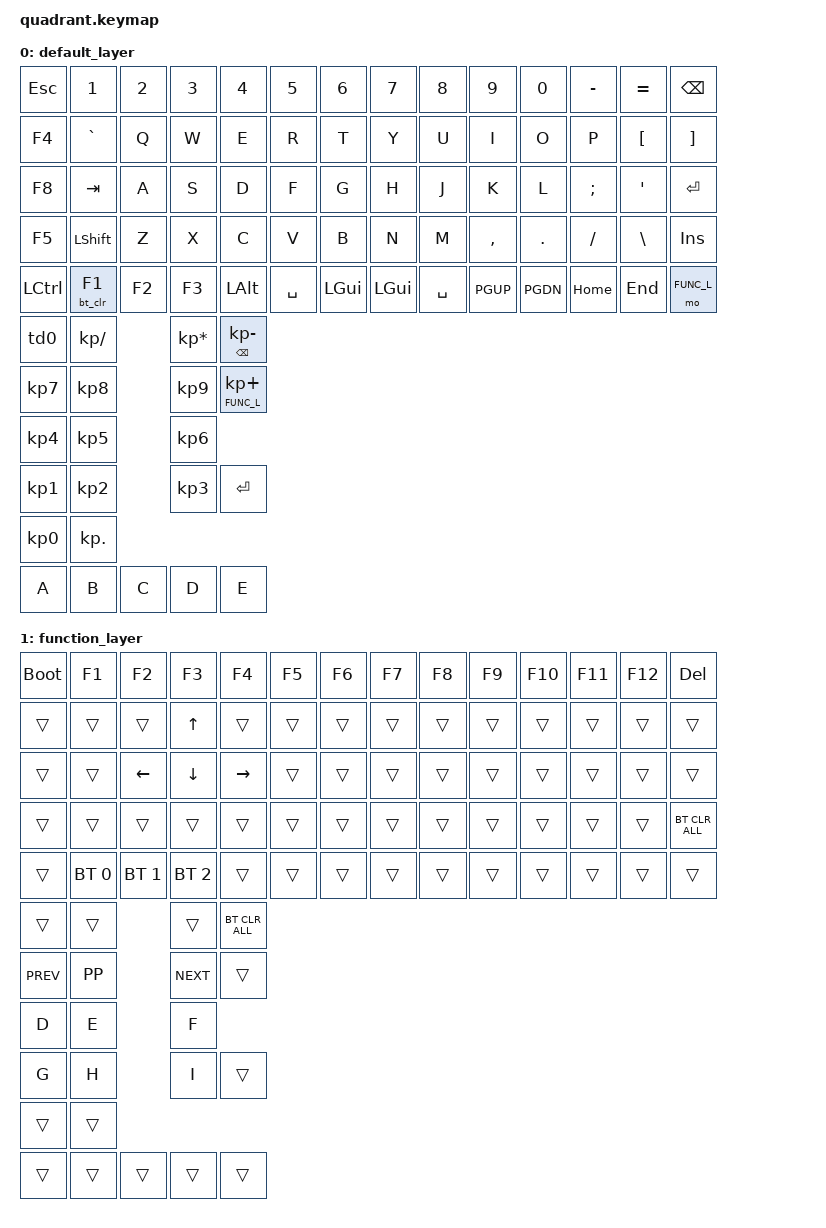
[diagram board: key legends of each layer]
/*
 * Copyright (c) 2020 The ZMK Contributors
 *
 * SPDX-License-Identifier: MIT
 */

#include <behaviors.dtsi>
#include <dt-bindings/zmk/keys.h>
#include <dt-bindings/zmk/bt.h>
#include <dt-bindings/zmk/outputs.h>


#define FUNC_L 1

/ {


    macros {
        ZMK_MACRO(bt_clr, bindings = <&bt BT_CLR_ALL>;)
        ZMK_MACRO(bt_nxt, bindings = <&bt BT_NXT>;)
    };
	
    behaviors {
        td0: tap_dance_0 {
            compatible = "zmk,behavior-tap-dance";
            #binding-cells = <0>;
            tapping-term-ms = <200>;
            bindings = <&kp KP_NUM>, <&sys_reset>, <&bootloader>;
        };

        ht0: layer_tap_tap_preferred {
            compatible = "zmk,behavior-hold-tap";
            #binding-cells = <2>;
            tapping-term-ms = <300>;
            flavor = "tap-preferred";
            bindings =
                <&mo>,
                <&kp>;
        };
		
        htht: hold_tap_tap_preferred {
            compatible = "zmk,behavior-hold-tap";
            #binding-cells = <2>;
            tapping-term-ms = <500>;
            flavor = "tap-preferred";
            bindings =
                <&kp>,
                <&kp>;
        };
				
        ht1: hold_tap_numpad {
            compatible = "zmk,behavior-hold-tap";
            #binding-cells = <2>;
            tapping-term-ms = <3000>;
            flavor = "tap-preferred";
            bindings =
                <&bt_clr>,
                <&kp>;
        };
		
		ht2: out_tap_tap_preferred {
            compatible = "zmk,behavior-hold-tap";
            #binding-cells = <2>;
            tapping-term-ms = <3000>;
            flavor = "tap-preferred";
            bindings =
                <&out>,
                <&kp>;
        };
		
		ht3: bootloader_tap_tap_preferred {
            compatible = "zmk,behavior-hold-tap";
            #binding-cells = <2>;
            tapping-term-ms = <3000>;
            flavor = "tap-preferred";
            bindings =
                <&bootloader>,
                <&kp>;
        };
		
	
    };
	
    keymap {
        compatible = "zmk,keymap";
		
        default_layer {
            bindings = <

&kp ESC    &kp N1    &kp N2     &kp N3     &kp N4     &kp N5     &kp N6              &kp N7     &kp N8     &kp N9     &kp N0     &kp MINUS  &kp EQUAL  &kp BKSP
&kp F4     &kp GRAVE &kp Q      &kp W      &kp E      &kp R      &kp T        		 &kp Y      &kp U      &kp I      &kp O      &kp P      &kp LBKT   &kp RBKT
&kp F8     &kp TAB   &kp A      &kp S      &kp D      &kp F      &kp G        		 &kp H      &kp J      &kp K      &kp L      &kp SEMI   &kp APOS   &kp ENTER
&kp F5     &kp LSHFT &kp Z      &kp X      &kp C      &kp V      &kp B     		     &kp N      &kp M      &kp COMMA  &kp DOT    &kp FSLH   &kp BSLH   &kp INS
&kp LCTRL  &ht1 0 F1 &kp F2     &kp F3     &kp LALT   &kp SPACE  &kp LGUI            &kp LGUI   &kp SPACE  &kp PGUP   &kp PGDN   &kp HOME   &kp END    &mo FUNC_L


&td0          &kp KP_SLASH &kp KP_ASTERISK &htht BKSP KP_MINUS
&kp KP_N7     &kp KP_N8    &kp KP_N9       &ht0 FUNC_L KP_PLUS
&kp KP_N4     &kp KP_N5    &kp KP_N6         
&kp KP_N1     &kp KP_N2    &kp KP_N3       &kp  ENTER
&kp KP_N0     &kp KP_DOT     


&kp A     &kp B     &kp C     &kp D     &kp E

            >;
        };

        function_layer {
            bindings = < 

&bootloader &kp F1       &kp F2       &kp F3       &kp F4     &kp F5     &kp F6            &kp F7         &kp F8     &kp F9     &kp F10    &kp F11    &kp F12    &kp DEL  
&trans      &trans       &trans       &kp UP       &trans     &trans     &trans            &trans         &trans     &trans     &trans     &trans     &trans     &trans    
&trans      &trans       &kp LEFT     &kp DOWN     &kp RIGHT  &trans     &trans            &trans         &trans     &trans     &trans     &trans     &trans     &trans  
&trans      &trans       &trans       &trans       &trans     &trans     &trans            &trans         &trans     &trans     &trans     &trans     &trans     &bt BT_CLR_ALL 
&trans      &bt BT_SEL 0 &bt BT_SEL 1 &bt BT_SEL 2 &trans     &trans     &trans            &trans         &trans     &trans     &trans     &trans     &trans     &trans   


&trans        &trans       &trans          &bt BT_CLR_ALL       
&kp K_PREV    &kp K_PP     &kp K_NEXT      &trans       
&kp D         &kp E        &kp F     
&kp G         &kp H        &kp I           &trans       
&trans        &trans


&trans		&trans		&trans		&trans		&trans		

            >;
        };
	};

};
